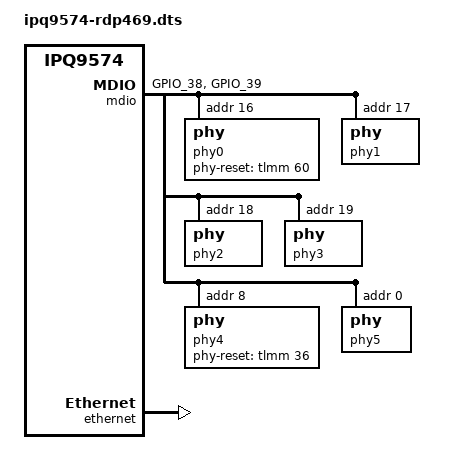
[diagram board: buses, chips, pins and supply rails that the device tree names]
// SPDX-License-Identifier: GPL-2.0-only
/*
* Copyright (c) 2023, Qualcomm Innovation Center, Inc. All rights reserved.
*/

/dts-v1/;

#include "ipq9574-default.dts"

/ {
	config_name = "config@al02-c17","config@rdp469", "config-rdp469";

	soc: soc {
		tlmm: pinctrl@1000000 {

			mdio_pinmux: mdio {
				mdc {
					pins = "GPIO_38";
					function = "mdc";
					drive-strength = <DRIVE_STRENGTH_8MA>;
					bias-disable;
				};

				mdio {
					pins = "GPIO_39";
					function = "mdio";
					drive-strength = <DRIVE_STRENGTH_8MA>;
					bias-pull-up;
				};
			};

			phy_rst_pinmux: phy_rst {
				qti_8085_rst {
					pins = "GPIO_60";
					drive-strength = <DRIVE_STRENGTH_8MA>;
					bias-pull-up;
				};

				qti_aquantia_rst {
					pins = "GPIO_36";
					drive-strength = <DRIVE_STRENGTH_8MA>;
					bias-pull-up;
				};
			};
		};

		mdio: mdio@90000 {
			pinctrl-names = "default";
			pinctrl-0 = <&mdio_pinmux>;
			status = "okay";

			phy0: phy@16 {
				phy-reset-gpio = <&tlmm 60 0>;
				reg = <16>;
				phy_id = <0>;
				id = <1>;
				uniphy_id = <0>;
				uniphy_type = <0>;
			};

			phy1: phy@17 {
				reg = <17>;
				phy_id = <0>;
				id = <2>;
				uniphy_id = <0>;
				uniphy_type = <0>;
			};

			phy2: phy@18 {
				reg = <18>;
				phy_id = <0>;
				id = <3>;
				uniphy_id = <0>;
				uniphy_type = <0>;
			};

			phy3: phy@19 {
				reg = <19>;
				phy_id = <0>;
				id = <4>;
				uniphy_id = <0>;
				uniphy_type = <0>;
			};

			phy4: phy@8 {
				phy-reset-gpio = <&tlmm 36 0>;
				reg = <8>;
				phy_id = <2>;
				phy-mode = "usxgmii";
				id = <5>;
				uniphy_id = <1>;
				uniphy_type = <1>;
				xgmac;
			};

			phy5: phy@0 {
				reg = <0>;
				phy-mode = "usxgmii";
				phy_id = <2>;
				id = <6>;
				uniphy_id = <2>;
				uniphy_type = <0>;
				xgmac;
			};
		};

		ethernet: nss-switch {
			phy-handle0 = <&phy0>;
			phy-handle1 = <&phy1>;
			phy-handle2 = <&phy2>;
			phy-handle3 = <&phy3>;
			phy-handle4 = <&phy4>;
			phy-handle5 = <&phy5>;
			status = "okay";
		};
	};
};
